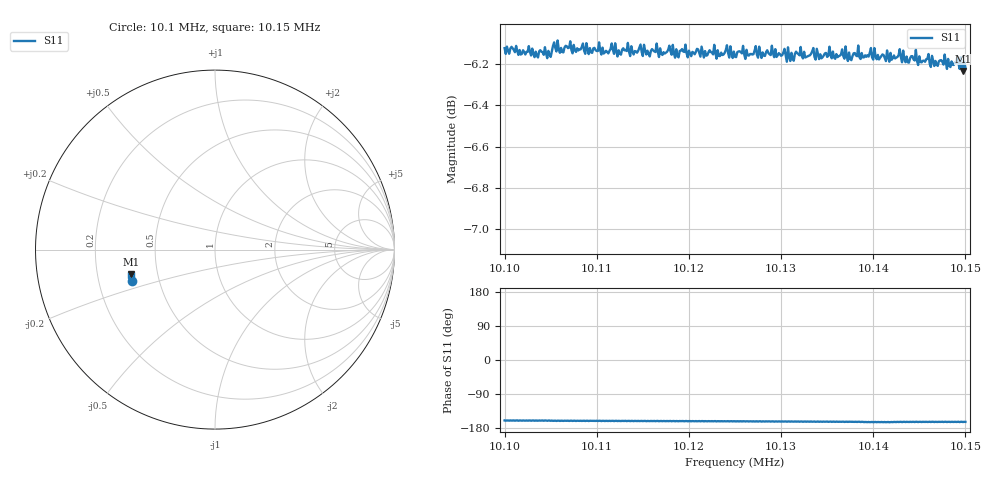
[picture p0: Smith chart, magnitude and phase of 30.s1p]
# Hz S RI R 50
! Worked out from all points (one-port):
!   401 points, 10.1 MHz to 10.15 MHz, reference 50 ohm
!   lowest |S11| = -6.2 dB at 10.1497 MHz (marker M1), VSWR 2.91, Z = 17.5 - j6.31 ohm
!   |S11| at or under -10 dB: nowhere
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1.01e7  -0.463 -0.1728
1.010175e7  -0.4617 -0.1712
1.010288e7  -0.4635 -0.1657
1.010338e7  -0.4625 -0.1713
1.010462e7  -0.4629 -0.1651
1.01055e7  -0.4648 -0.1683
1.010625e7  -0.4643 -0.1662
1.010875e7  -0.4657 -0.1608
1.01125e7  -0.465 -0.1627
1.0115e7  -0.4662 -0.1574
1.011562e7  -0.4657 -0.1606
1.011812e7  -0.4675 -0.1547
1.011875e7  -0.4659 -0.1585
1.01195e7  -0.4683 -0.1546
1.0125e7  -0.467 -0.1544
1.012738e7  -0.4678 -0.1539
1.013125e7  -0.4682 -0.1494
1.013188e7  -0.4689 -0.1508
1.01375e7  -0.4696 -0.144
1.013862e7  -0.4713 -0.1386
1.013925e7  -0.4722 -0.1375
1.014162e7  -0.4716 -0.1391
1.014275e7  -0.4724 -0.1381
1.014375e7  -0.4697 -0.1409
1.014625e7  -0.4692 -0.138
1.014688e7  -0.4689 -0.1412
1.014975e7  -0.4683 -0.1371
1.015e7  -0.4682 -0.1406
